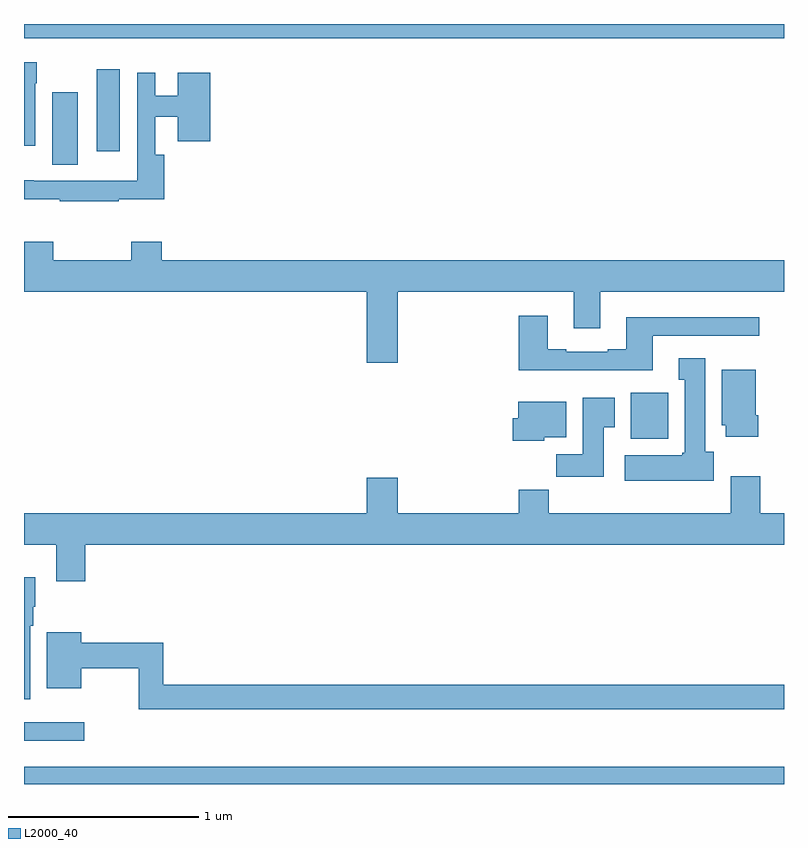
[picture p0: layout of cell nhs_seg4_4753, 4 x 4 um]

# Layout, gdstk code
import gdstk
lib = gdstk.Library(unit=1e-6, precision=1e-09)
def R(c, l, rs):  # rectangles x0, y0, x1, y1
    for r in rs: c.add(gdstk.rectangle(r[:2], r[2:], *l))
def P(c, l, *ps):  # polygons
    for p in ps: c.add(gdstk.Polygon(p, *l))
L2000_40 = (2000, 40)

nhs_seg4_4753 = lib.new_cell('nhs_seg4_4753')
R(nhs_seg4_4753, L2000_40, [(367,788.9,371,788.992), (367,789.128,367.318,789.225), (370.193,790.718,370.39,790.96), (367.148,792.16,367.282,792.541), (367.382,792.231,367.504,792.661), (367,792.824,371,792.9)])
P(nhs_seg4_4753, L2000_40, [(367.06,792.587),(367.068,792.587),(367.068,792.7),(367,792.7),(367,792.258),(367.06,792.258)],
  [(367.499,791.977),(367.739,791.977),(367.739,792.211),(367.692,792.211),(367.692,792.413),(367.808,792.413),(367.808,792.282),(367.979,792.282),(367.979,792.643),(367.808,792.643),(367.808,792.523),(367.692,792.523),(367.692,792.643),(367.596,792.643),(367.596,792.076),(367.386,792.076),(367.386,792.075),(367.052,792.075),(367.052,792.077),(367,792.077),(367,791.977),(367.189,791.977),(367.189,791.967),(367.499,791.967)],
  [(368.968,791.492),(369.893,791.492),(369.893,791.298),(370.033,791.298),(370.033,791.492),(371,791.492),(371,791.656),(367.724,791.656),(367.724,791.755),(367.564,791.755),(367.564,791.656),(367.155,791.656),(367.155,791.755),(367,791.755),(367,791.492),(368.804,791.492),(368.804,791.118),(368.968,791.118)],
  [(370.309,791.259),(370.87,791.259),(370.87,791.356),(370.169,791.356),(370.169,791.188),(370.073,791.188),(370.073,791.175),(369.853,791.175),(369.853,791.188),(369.757,791.188),(369.757,791.365),(369.605,791.365),(369.605,791.078),(370.309,791.078)],
  [(370.63,790.65),(370.585,790.65),(370.585,791.14),(370.445,791.14),(370.445,791.027),(370.478,791.027),(370.478,790.644),(370.465,790.644),(370.465,790.63),(370.161,790.63),(370.161,790.496),(370.63,790.496)],
  [(370.865,790.84),(370.852,790.84),(370.852,791.08),(370.673,791.08),(370.673,790.788),(370.694,790.788),(370.694,790.728),(370.865,790.728)],
  [(370.051,790.777),(370.108,790.777),(370.108,790.933),(369.941,790.933),(369.941,790.636),(369.802,790.636),(369.802,790.518),(370.051,790.518)],
  [(369.738,790.724),(369.853,790.724),(369.853,790.912),(369.602,790.912),(369.602,790.824),(369.572,790.824),(369.572,790.706),(369.738,790.706)],
  [(367.322,790.16),(371,790.16),(371,790.324),(370.874,790.324),(370.874,790.519),(370.721,790.519),(370.721,790.324),(369.761,790.324),(369.761,790.448),(369.605,790.448),(369.605,790.324),(368.968,790.324),(368.968,790.513),(368.804,790.513),(368.804,790.324),(367,790.324),(367,790.16),(367.169,790.16),(367.169,789.966),(367.322,789.966)],
  [(367.033,789.734),(367.048,789.734),(367.048,789.834),(367.06,789.834),(367.06,789.988),(367,789.988),(367,789.345),(367.033,789.345)],
  [(371,789.422),(367.733,789.422),(367.733,789.644),(367.3,789.644),(367.3,789.7),(367.121,789.7),(367.121,789.404),(367.3,789.404),(367.3,789.508),(367.605,789.508),(367.605,789.294),(371,789.294)])

lib.write_gds('nhs_seg4_4753.gds')
